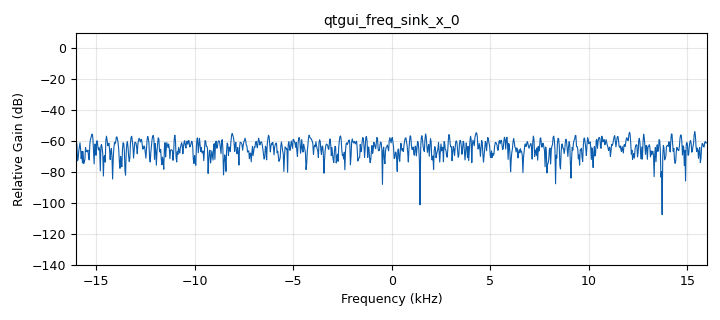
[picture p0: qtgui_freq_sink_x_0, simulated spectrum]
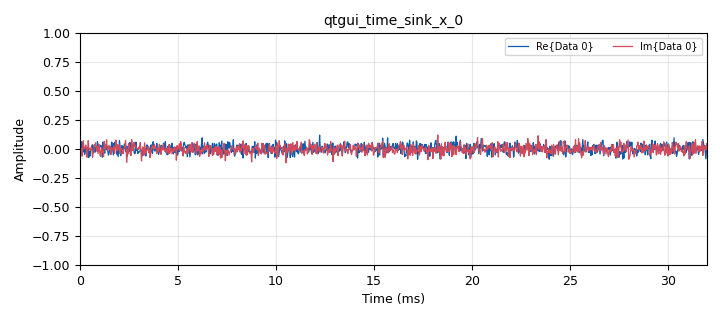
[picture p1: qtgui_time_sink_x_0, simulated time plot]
options:
  parameters:
    author: niko1
    generate_options: qt_gui
    id: acars_source_test
    output_language: python
    title: testing my custom sig source
  states: {}

blocks:
- name: samp_rate
  id: variable
  parameters:
    value: '32000'
  states: {}
- name: analog_noise_source_x_0
  id: analog_noise_source_x
  parameters:
    amp: '0.05'
    noise_type: analog.GR_GAUSSIAN
    seed: '0'
    type: complex
  states: {}
- name: blocks_add_xx_0
  id: blocks_add_xx
  parameters:
    type: complex
  states: {}
- name: blocks_throttle2_0
  id: blocks_throttle2
  parameters:
    samples_per_second: samp_rate
    type: complex
  states: {}
- name: epy_block_0
  id: epy_block
  parameters:
    _source_code: "\"\"\"\nEmbedded Python Blocks:\n\nEach time this file is saved, GRC will instantiate the first class it finds\nto get ports and parameters of your block. The arguments to __init__  will\nbe the parameters. All of them are required to have default values!\n\"\"\"\n\nimport math\n\nimport numpy as np\nfrom gnuradio import gr\n\n\nclass blk(gr.sync_block):\n\n    def __init__(self, sample_rate=32000):\n        gr.sync_block.__init__(\n            self,\n            name='ACARS SIGNAL SIMULATOR',\n            in_sig=None,\n            out_sig=[np.complex64]\n        )\n\n        self.sample_rate = sample_rate\n        self.prekey = [0,1,1,1,1,1,1,1] * 16\n        self.baud_rate = 1200\n\n        self.samples_per_bit = int(self.sample_rate / self.baud_rate)\n\n\n        self.sample_counter = 0\n        self.bit_index = 0\n        self.sample_index = 0\n        self.phase = 0.0\n\n        self.silence_duration = self.sample_rate * 4\n\n    def work(self, input_items, output_items):\n        \n        output_size = len(output_items[0])\n        total_cycle_samples = self.sample_rate * 4\n        \n        for i in range(output_size):\n            \n            if self.sample_counter >= (total_cycle_samples - (self.samples_per_bit * len(self.prekey))) and self.bit_index < len(self.prekey):\n\n                current_bit = self.prekey[self.bit_index]\n                freq = 1200.0 if current_bit == 1 else 2400.0\n                self.phase += 2*math.pi * freq / self.sample_rate\n                if self.phase > 2*math.pi:\n                    self.phase -= 2*math.pi\n\n                output_items[0][i] = complex(math.cos(self.phase), math.sin(self.phase))\n\n                self.sample_index += 1\n                if self.sample_index >= self.samples_per_bit:\n                    self.sample_index = 0\n                    self.bit_index += 1\n\n                # if self.bit_index >= len(self.prekey):\n                #     self.bit_index = 0\n\n            else:\n                output_items[0][i] = complex(0.0, 0.0)\n\n            self.sample_counter += 1\n\n            if self.sample_counter >= total_cycle_samples:\n                self.sample_counter = 0\n                self.bit_index = 0\n                self.sample_index = 0\n                self.phase = 0.0\n                \n        return output_size\n\n\n"
    sample_rate: samp_rate
  states: {}
- name: qtgui_freq_sink_x_0
  id: qtgui_freq_sink_x
  parameters:
    bw: samp_rate
    fc: '0'
    fftsize: '1024'
    type: complex
  states: {}
- name: qtgui_time_sink_x_0
  id: qtgui_time_sink_x
  parameters:
    size: '1024'
    srate: samp_rate
    type: complex
  states: {}

connections:
- [analog_noise_source_x_0, '0', blocks_add_xx_0, '1']
- [blocks_add_xx_0, '0', blocks_throttle2_0, '0']
- [blocks_throttle2_0, '0', qtgui_freq_sink_x_0, '0']
- [blocks_throttle2_0, '0', qtgui_time_sink_x_0, '0']
- [epy_block_0, '0', blocks_add_xx_0, '0']

metadata:
  file_format: 1
  grc_version: 3.10.12.0
